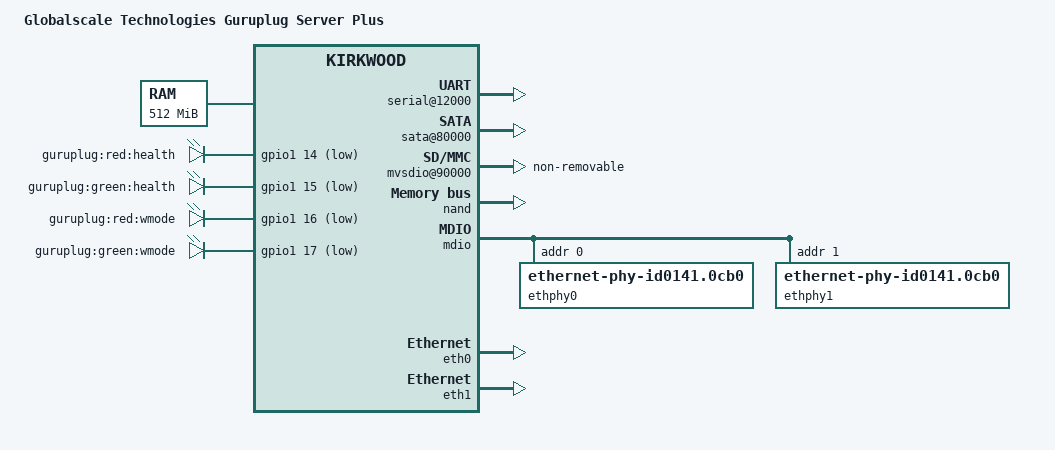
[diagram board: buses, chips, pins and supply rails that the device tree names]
/dts-v1/;

#include "kirkwood.dtsi"
#include "kirkwood-6281.dtsi"

/ {
	model = "Globalscale Technologies Guruplug Server Plus";
	compatible = "globalscale,guruplug-server-plus", "globalscale,guruplug", "marvell,kirkwood-88f6281", "marvell,kirkwood";

	memory {
		device_type = "memory";
		reg = <0x00000000 0x20000000>;
	};

	chosen {
		bootargs = "console=ttyS0,115200n8 earlyprintk";
		stdout-path = &uart0;
	};

	ocp@f1000000 {
		pinctrl: pin-controller@10000 {
			pmx_led_health_r: pmx-led-health-r {
				marvell,pins = "mpp46";
				marvell,function = "gpio";
			};
			pmx_led_health_g: pmx-led-health-g {
				marvell,pins = "mpp47";
				marvell,function = "gpio";
			};
			pmx_led_wmode_r: pmx-led-wmode-r {
				marvell,pins = "mpp48";
				marvell,function = "gpio";
			};
			pmx_led_wmode_g: pmx-led-wmode-g {
				marvell,pins = "mpp49";
				marvell,function = "gpio";
			};
		};
		serial@12000 {
			status = "ok";
		};

		sata@80000 {
			status = "okay";
			nr-ports = <1>;
		};

		/* AzureWave AW-GH381 WiFi/BT */
		mvsdio@90000 {
			status = "okay";
			non-removable;
		};
	};

	gpio-leds {
		compatible = "gpio-leds";
		pinctrl-0 = < &pmx_led_health_r &pmx_led_health_g
			      &pmx_led_wmode_r &pmx_led_wmode_g >;
		pinctrl-names = "default";

		health-r {
			label = "guruplug:red:health";
			gpios = <&gpio1 14 GPIO_ACTIVE_LOW>;
		};
		health-g {
			label = "guruplug:green:health";
			gpios = <&gpio1 15 GPIO_ACTIVE_LOW>;
		};
		wmode-r {
			label = "guruplug:red:wmode";
			gpios = <&gpio1 16 GPIO_ACTIVE_LOW>;
		};
		wmode-g {
			label = "guruplug:green:wmode";
			gpios = <&gpio1 17 GPIO_ACTIVE_LOW>;
		};
	};
};

&nand {
	status = "okay";

	partition@0 {
		label = "u-boot";
		reg = <0x00000000 0x00100000>;
		read-only;
	};

	partition@100000 {
		label = "uImage";
		reg = <0x00100000 0x00400000>;
	};

	partition@500000 {
		label = "data";
		reg = <0x00500000 0x1fb00000>;
	};
};

&mdio {
	status = "okay";

	ethphy0: ethernet-phy@0 {
		/* Marvell 88E1121R */
		compatible = "ethernet-phy-id0141.0cb0",
		             "ethernet-phy-ieee802.3-c22";
		reg = <0>;
	};

	ethphy1: ethernet-phy@1 {
		/* Marvell 88E1121R */
		compatible = "ethernet-phy-id0141.0cb0",
		             "ethernet-phy-ieee802.3-c22";
		reg = <1>;
	};
};

&eth0 {
	status = "okay";
	ethernet0-port@0 {
		phy-handle = <&ethphy0>;
		phy-connection-type = "rgmii-id";
	};
};

&eth1 {
	status = "okay";
	ethernet1-port@0 {
		phy-handle = <&ethphy1>;
		phy-connection-type = "rgmii-id";
	};
};
